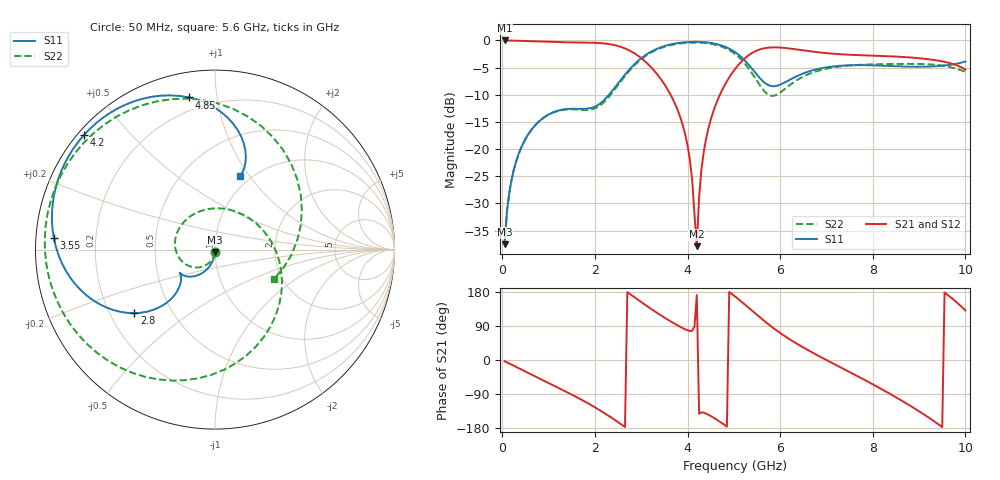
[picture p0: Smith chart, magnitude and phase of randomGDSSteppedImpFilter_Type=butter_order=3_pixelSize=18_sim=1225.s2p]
! freq	dB(S11)	phase(S11)	dB(S12)	phase(S12)
!  dB(S21)	phase(S21)	dB(S22)	phase(S22)
!S-par simulation data
#  GHz  S  DB  R 50
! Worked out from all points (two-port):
!   200 points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, 50 MHz to 10 GHz, reference 50 ohm
!   highest |S21| = -0.01 dB at 50 MHz (marker M1); lowest = -37.9 dB at 4.2 GHz (marker M2)
!   |S21| within 3 dB of the highest: start of sweep to 2.962 GHz; 5.279 GHz to 8.574 GHz (3.295 GHz wide, 47.6 % of centre)
!   lowest |S11| = -37.5 dB at 50 MHz (marker M3), VSWR 1.03, Z = 49.9 - j1.33 ohm
!   |S11| at or under -10 dB: start of sweep to 2.304 GHz
!   |S22| runs from -37.5 to -0.4 dB; largest |S21 - S12| = 0
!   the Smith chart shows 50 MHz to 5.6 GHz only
!   S11 on the Smith chart (normalised r, x): 50 MHz: 1.00, -0.03; 2.8 GHz: 0.30, -0.32; 3.55 GHz: 0.05, +0.04; 4.2 GHz: 0.02, +0.38; 4.85 GHz: 0.13, +0.83; 5.6 GHz: 0.90, +0.90
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0.05  -37.49 -91.4  -0.01 -3.1  -0.01 -3.1  -37.51 -92.9
0.2  -25.62 -99.4  -0.03 -12.3  -0.03 -12.3  -25.64 -105.2
0.5  -18.14 -113.4  -0.11 -30.5  -0.11 -30.5  -18.17 -128.4
1.75  -12.60 -146.1  -0.38 -107.5  -0.38 -107.5  -12.79 110.5
2.35  -9.53 -131.8  -0.74 -151.5  -0.74 -151.5  -9.88 6.3
2.8  -4.84 -141.8  -2.10 170.3  -2.10 170.3  -5.07 -60.8
3.4  -1.33 -175.2  -6.84 119.7  -6.84 119.7  -1.48 -128.9
3.55  -0.92 176.0  -8.74 108.2  -8.74 108.2  -1.05 -143.4
4  -0.31 150.2  -19.32 78.4  -19.32 78.4  -0.44 176.3
4.2  -0.27 138.8  -37.88 171.2  -37.88 171.2  -0.41 158.8
4.3  -0.29 133.1  -23.78 -138.1  -23.78 -138.1  -0.44 149.9
4.4  -0.36 127.2  -18.12 -141.4  -18.12 -141.4  -0.51 140.8
4.85  -1.31 99.8  -7.52 -175.9  -7.52 -175.9  -1.56 94.7
5.05  -2.29 87.5  -5.01 165.3  -5.01 165.3  -2.66 69.8
5.3  -4.27 74.7  -2.86 139.8  -2.86 139.8  -4.93 32.6
5.6  -7.28 71.0  -1.56 108.7  -1.56 108.7  -8.71 -26.6
6  -8.14 82.2  -1.32 71.4  -1.32 71.4  -9.60 -121.3
6.7  -5.50 64.3  -2.06 19.4  -2.06 19.4  -5.92 152.8
7.65  -4.55 8.8  -2.70 -41.3  -2.70 -41.3  -4.53 88.6
8.35  -4.70 -43.7  -2.92 -87.8  -2.92 -87.8  -4.35 48.4
9.35  -4.76 -131.1  -3.63 -163.8  -3.63 -163.8  -4.48 -18.7
10  -3.89 174.1  -5.36 130.8  -5.36 130.8  -5.76 -103.2
